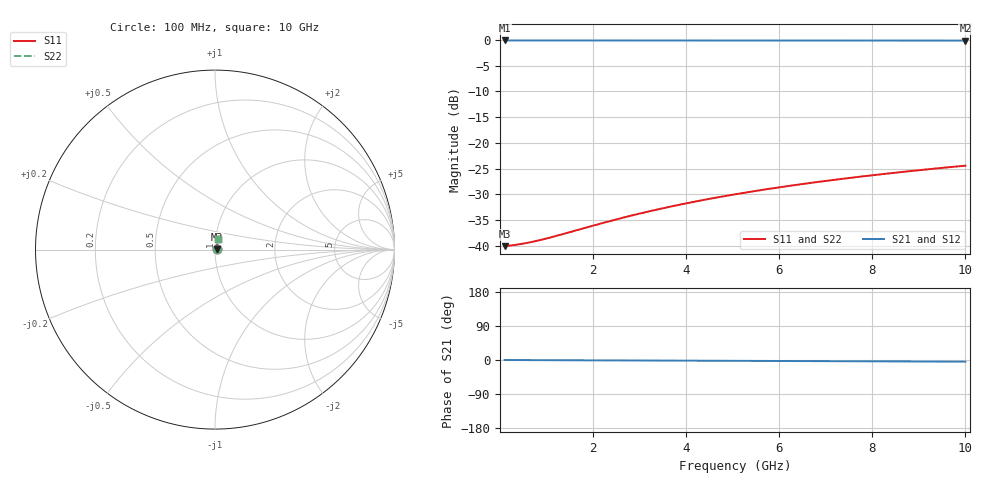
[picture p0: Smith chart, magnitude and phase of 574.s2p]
# Hz S RI R 50.00
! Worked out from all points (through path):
!   100 points, 100 MHz to 10 GHz, reference 50 ohm
!   highest |S21| = -0.09 dB at 100 MHz (marker M1); lowest = -0.1 dB at 10 GHz (marker M2)
!   lowest |S11| = -40.1 dB at 100 MHz (marker M3), VSWR 1.02, Z = 51 + j0.0595 ohm
!   |S11| at or under -10 dB: start of sweep to end of sweep
!   |S22| runs from -40.1 to -24.4 dB; largest |S21 - S12| = 0
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1e8  0.00991 0.000584  0.9901 -0.000756  0.9901 -0.000756  0.00991 0.000584
4e8  0.0101 0.00233  0.9899 -0.00303  0.9899 -0.00303  0.0101 0.00233
6e8  0.0101 0.0035  0.9899 -0.00454  0.9899 -0.00454  0.0101 0.0035
8e8  0.0102 0.00467  0.9898 -0.00605  0.9898 -0.00605  0.0102 0.00467
1e9  0.0103 0.00583  0.9897 -0.00756  0.9897 -0.00756  0.0103 0.00583
1.2e9  0.0103 0.007  0.9897 -0.00907  0.9897 -0.00907  0.0103 0.007
1.8e9  0.0105 0.0105  0.9895 -0.0136  0.9895 -0.0136  0.0105 0.0105
2.2e9  0.0106 0.0128  0.9894 -0.0166  0.9894 -0.0166  0.0106 0.0128
2.6e9  0.0107 0.0152  0.9893 -0.0197  0.9893 -0.0197  0.0107 0.0152
3e9  0.0108 0.0175  0.9891 -0.0227  0.9891 -0.0227  0.0108 0.0175
3.4e9  0.011 0.0198  0.989 -0.0257  0.989 -0.0257  0.011 0.0198
3.8e9  0.0111 0.0221  0.9888 -0.0287  0.9888 -0.0287  0.0111 0.0221
4.2e9  0.0113 0.0245  0.9886 -0.0317  0.9886 -0.0317  0.0113 0.0245
4.6e9  0.0115 0.0268  0.9885 -0.0348  0.9885 -0.0348  0.0115 0.0268
5.1e9  0.0117 0.0297  0.9882 -0.0385  0.9882 -0.0385  0.0117 0.0297
5.5e9  0.012 0.032  0.988 -0.0416  0.988 -0.0416  0.012 0.032
5.9e9  0.0122 0.0344  0.9878 -0.0446  0.9878 -0.0446  0.0122 0.0344
6.7e9  0.0127 0.039  0.9873 -0.0506  0.9873 -0.0506  0.0127 0.039
7.5e9  0.0132 0.0437  0.9867 -0.0567  0.9867 -0.0567  0.0132 0.0437
8.4e9  0.0139 0.0489  0.986 -0.0635  0.986 -0.0635  0.0139 0.0489
9.2e9  0.0146 0.0535  0.9853 -0.0695  0.9853 -0.0695  0.0146 0.0535
1e10  0.0153 0.0582  0.9845 -0.0755  0.9845 -0.0755  0.0153 0.0582
